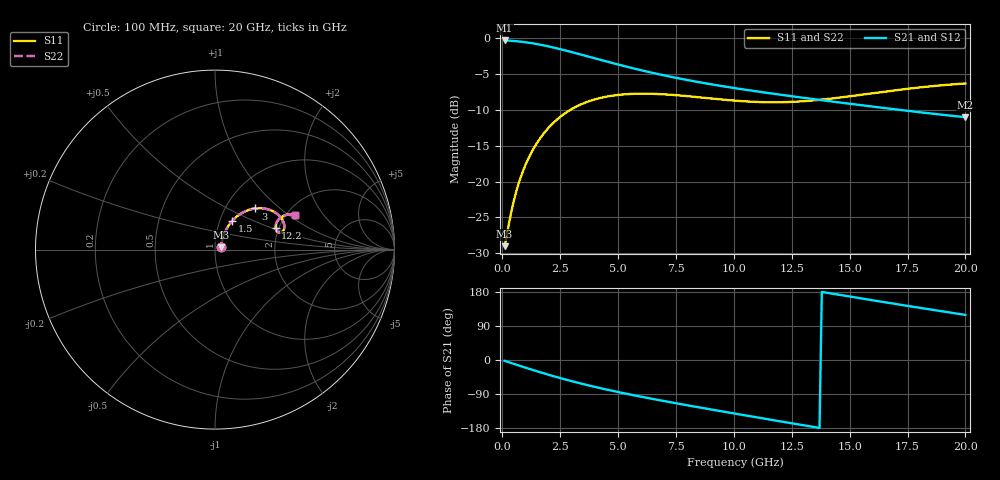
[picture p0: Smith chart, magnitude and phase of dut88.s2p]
! Touchstone file exported from HFSS 2024.1.0
!  File:  C:/UserFiles/LocalFiles/RDL_TSV_Batchsim/temp_RDL_TSV_88_1779416603.aedt
!  Generated:  10:38:38 AM May 22, 2026
!  Design:  RDL_TSV
!  Project:  temp_RDL_TSV_88_1779416603
!  Setup:  Setup1
!  Solution:  Sweep
! Variables:
!  dtsv = 7.28um
!  hbump = 3um
!  htsv = 56.7um
!  ldown = 449.92um
!  lrdl = 593.64um
!  p = 40
!  p1 = 58.52um
!  rhole = 10um
!  subl = 3724.32um
!  t = 450um
!  tdown = 4.52um
!  trdl = 2.49um
!  viad = 10um
!  wdown = 21.57um
!  wrdl = 11.99um
!  xbump = 18um
# GHz S MA R 50.000000
! Terminal data exported
! Port[1] = TM1_1_T1
! Port[2] = TM1_4_T1
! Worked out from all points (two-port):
!   200 points, 100 MHz to 20 GHz, reference 50 ohm
!   highest |S21| = -0.29 dB at 100 MHz (marker M1); lowest = -11.0 dB at 20 GHz (marker M2)
!   |S21| within 3 dB of the highest: start of sweep to 4.572 GHz
!   lowest |S11| = -29.0 dB at 100 MHz (marker M3), VSWR 1.07, Z = 53.4 + j1.36 ohm
!   |S11| at or under -10 dB: start of sweep to 2.933 GHz
!   |S22| runs from -29.0 to -6.3 dB; largest |S21 - S12| = 1.4e-14
!   S11 on the Smith chart (normalised r, x): 100 MHz: 1.07, +0.03; 1.5 GHz: 1.14, +0.38; 3 GHz: 1.37, +0.70; 12.2 GHz: 1.92, +0.53; 20 GHz: 2.23, +1.11
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0.1  0.03533 21.0  0.9671 -2.1  0.9671 -2.1  0.03533 21.0
! Gamma 0 0 0 0
! Port Impedance 50 0 50 0
0.4  0.06259 51.5  0.9617 -8.3  0.9617 -8.3  0.06259 51.5
0.7  0.0962 59.1  0.9524 -14.3  0.9524 -14.3  0.0962 59.1
0.9  0.119 60.6  0.9443 -18.2  0.9443 -18.2  0.119 60.6
1.1  0.1418 60.8  0.9349 -22.2  0.9349 -22.2  0.1418 60.8
1.5  0.186 59.1  0.9123 -29.8  0.9123 -29.8  0.186 59.1
2.2  0.2564 53.3  0.8638 -42.5  0.8638 -42.5  0.2564 53.3
2.6  0.291 49.5  0.8331 -49.4  0.8331 -49.4  0.291 49.5
3  0.321 45.6  0.8017 -55.9  0.8017 -55.9  0.321 45.6
3.5  0.3516 40.8  0.7627 -63.7  0.7627 -63.7  0.3516 40.8
4.2  0.3824 34.6  0.7105 -73.8  0.7105 -73.8  0.3824 34.7
5.1  0.4042 27.9  0.6503 -85.8  0.6503 -85.8  0.4043 27.9
5.9  0.4107 23.0  0.604 -95.7  0.604 -95.7  0.4109 23.0
6.8  0.408 18.9  0.5597 -106.3  0.5597 -106.3  0.4082 18.9
8.4  0.3892 14.9  0.4974 -124.0  0.4974 -124.0  0.3893 14.9
10.1  0.3667 15.1  0.4476 -142.0  0.4476 -142.0  0.3668 15.1
12.2  0.3586 19.7  0.4001 -163.9  0.4001 -163.9  0.3586 19.7
13.4  0.3682 22.7  0.377 -176.2  0.377 -176.2  0.3682 22.7
15.1  0.3959 25.6  0.3477 166.5  0.3477 166.5  0.3958 25.6
16.7  0.4284 26.2  0.323 150.6  0.323 150.6  0.4283 26.2
18.3  0.459 25.2  0.3012 135.1  0.3012 135.1  0.4589 25.2
20  0.4842 23.2  0.2813 119.0  0.2813 119.0  0.4841 23.2
